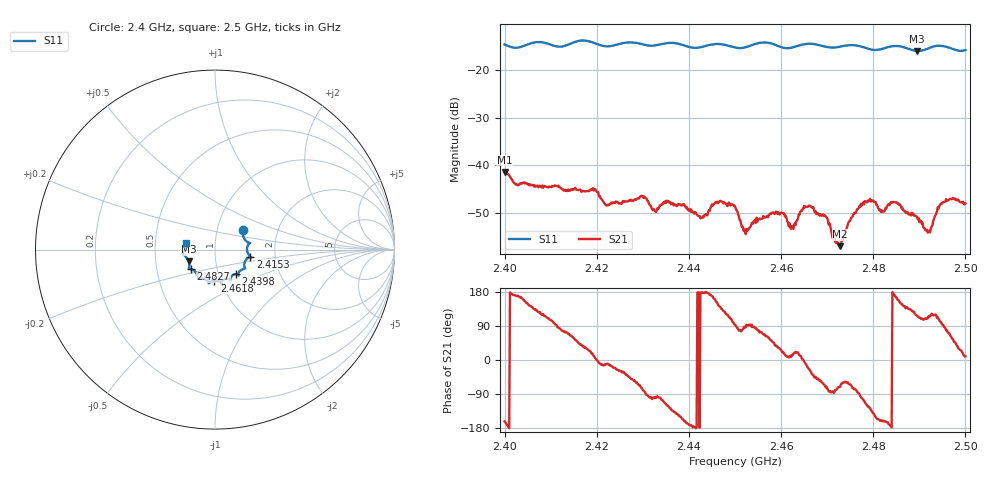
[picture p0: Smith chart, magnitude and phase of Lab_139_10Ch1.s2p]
# Hz S RI R 50
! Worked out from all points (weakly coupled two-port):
!   601 points, 2.4 GHz to 2.5 GHz, reference 50 ohm
!   highest |S21| = -41.44 dB at 2.4 GHz (marker M1); lowest = -57.1 dB at 2.4728 GHz (marker M2)
!   lowest |S11| = -15.9 dB at 2.4895 GHz (marker M3), VSWR 1.38, Z = 37 - j5.02 ohm
!   |S11| at or under -10 dB: start of sweep to end of sweep
!   S12 and S22 are empty: the file has one direction only
!   S11 on the Smith chart (normalised r, x): 2.4 GHz: 1.33, +0.29; 2.4153 GHz: 1.48, -0.12; 2.4398 GHz: 1.21, -0.34; 2.4618 GHz: 0.94, -0.33; 2.4827 GHz: 0.75, -0.17; 2.5 GHz: 0.72, +0.06
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2.4e9  0.1549 0.1067  -0.00806 -0.0026  0 0  0 0
2.402667e9  0.1616 0.0639  -0.00606 0.00124  0 0  0 0
2.415333e9  0.1967 -0.0388  0.00346 0.00462  0 0  0 0
2.416667e9  0.2026 -0.043  0.004 0.00336  0 0  0 0
2.422167e9  0.1669 -0.0665  0.00374 -0.000696  0 0  0 0
2.433333e9  0.1296 -0.1343  -0.000505 -0.00342  0 0  0 0
2.439833e9  0.115 -0.1357  -0.00338 -0.00068  0 0  0 0
2.442833e9  0.0895 -0.1528  -0.0028 0.0001  0 0  0 0
2.446333e9  0.0847 -0.1705  -0.00324 0.00228  0 0  0 0
2.45e9  0.0651 -0.1622  -0.000163 0.00365  0 0  0 0
2.452333e9  0.0421 -0.1709  9.95e-05 0.00186  0 0  0 0
2.4585e9  0.0344 -0.185  0.00219 0.00216  0 0  0 0
2.461833e9  -0.0034 -0.1726  0.0024 0.000386  0 0  0 0
2.466667e9  -0.0348 -0.188  0.00287 -0.00218  0 0  0 0
2.472833e9  -0.0792 -0.1599  0.000464 -0.00132  0 0  0 0
2.477833e9  -0.0986 -0.1461  -0.00104 -0.00392  0 0  0 0
2.482667e9  -0.1348 -0.1086  -0.00336 -0.00111  0 0  0 0
2.483333e9  -0.1399 -0.1084  -0.00382 -0.000726  0 0  0 0
2.4895e9  -0.1461 -0.0662  -0.00128 0.00255  0 0  0 0
2.491833e9  -0.1665 -0.0359  -0.000681 0.00181  0 0  0 0
2.495e9  -0.1805 -0.0193  -0.000194 0.00399  0 0  0 0
2.5e9  -0.1594 0.039  0.0039 0.000656  0 0  0 0
